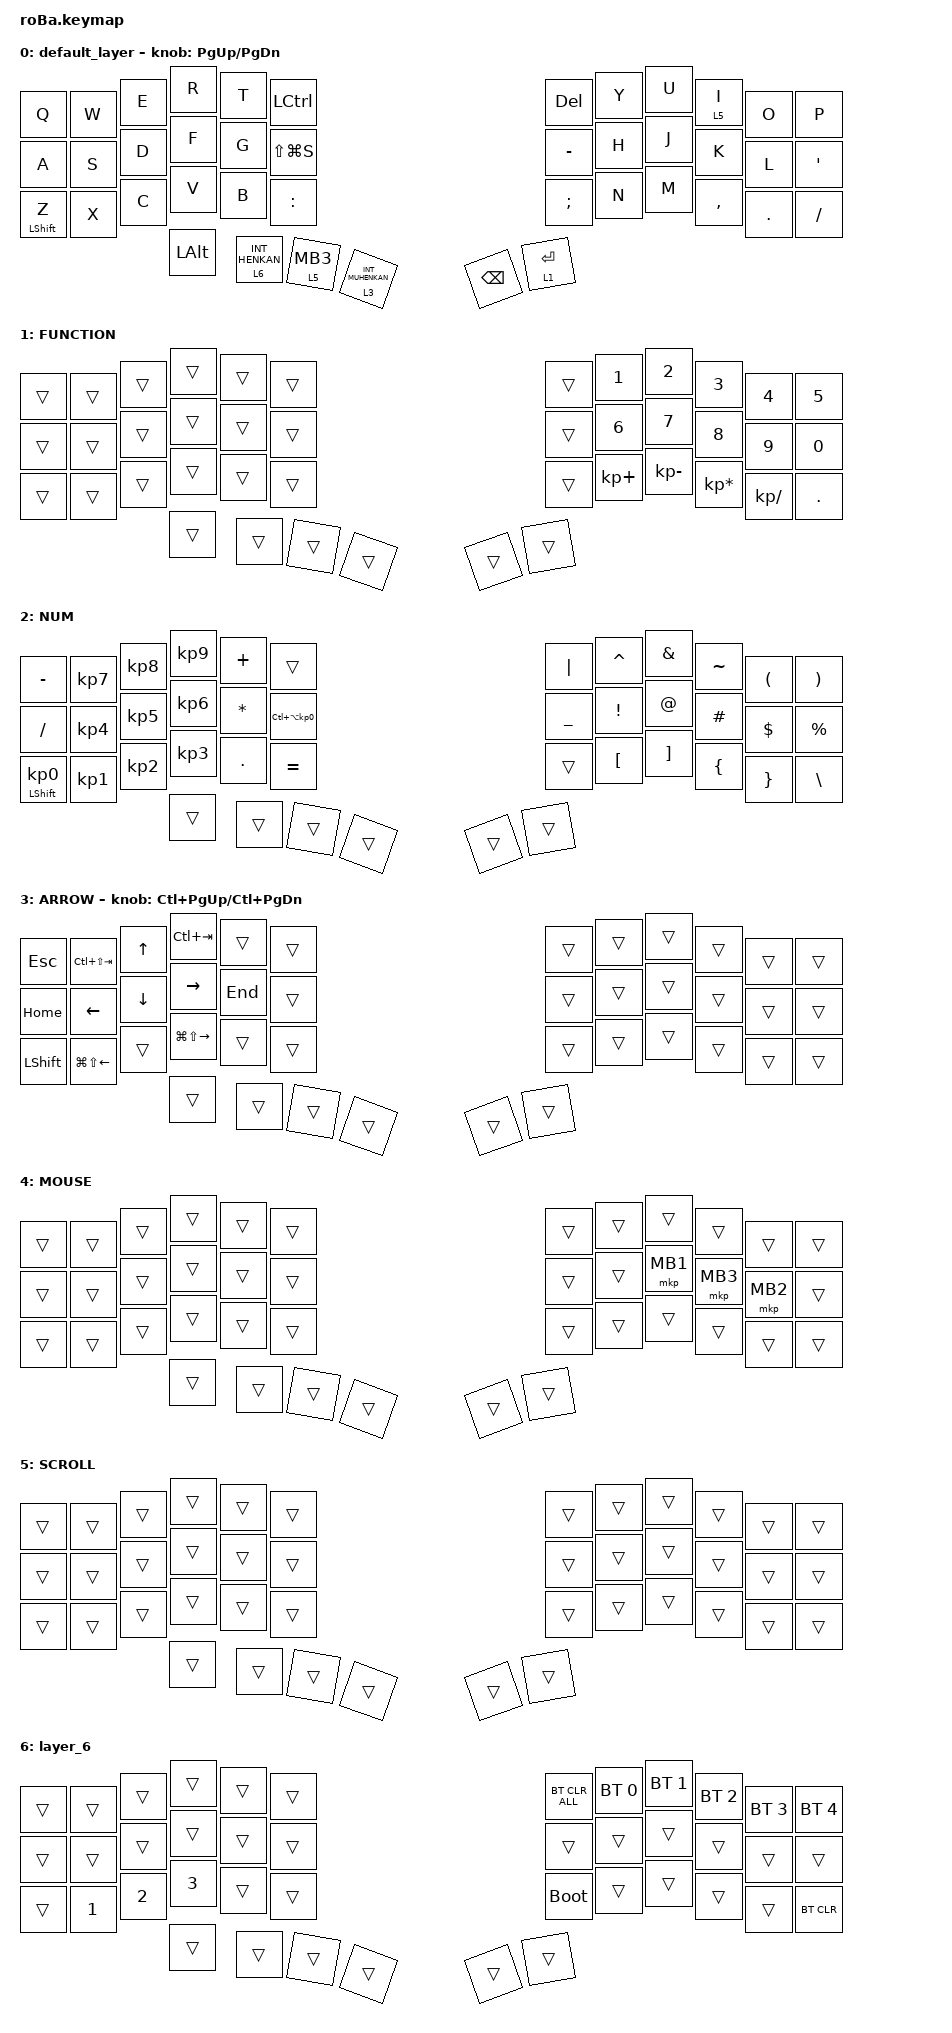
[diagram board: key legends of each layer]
#include <behaviors.dtsi>
#include <dt-bindings/zmk/bt.h>
#include <dt-bindings/zmk/keys.h>
#include <dt-bindings/zmk/pointing.h>

// ---- 日本語配列（JIS）用の読み替え ------------------------------------------
// kot149/zmk-layout-shift で &kp を差し替え、US 配列のつもりで指定したキーを
// JIS 配列の PC 向けのキーに読み替えて送る（Studio で割り当てたキーにも効く）。
#include <layout_shift_kp_override.dtsi>

// Studio に保存済みの割り当ては behavior のデバイス名で &kp を参照している。
// override が付ける label を消し、デバイス名を元の "key_press" のままにする。
&kp {
    /delete-property/ label;
};

// key press 系の実体は 1 つだけにする（ドライバが instance 0 しか作らないため）
/delete-node/ &mtls;
/delete-node/ &kpls;

#define JIS_OPT (LAYOUT_SHIFT_OPTIONAL_CTRL | LAYOUT_SHIFT_OPTIONAL_ALT | LAYOUT_SHIFT_OPTIONAL_GUI)

/ {
    // 同梱の US->JIS マップから GRAVE（JIS の半角/全角）だけ外したもの。
    // 起動時に常に有効化する（src/jis_default_on.c）。切り替えキーは置かない。
    jis_map: jis_map {
        compatible = "zmk,layout-shift-map";
        mappings = <
            EQUAL             UNDERSCORE        JIS_OPT
            CARET             EQUAL             JIS_OPT
            TILDE             PLUS              JIS_OPT
            AT_SIGN           LEFT_BRACKET      JIS_OPT
            LEFT_BRACKET      RIGHT_BRACKET     JIS_OPT
            RIGHT_BRACKET     BACKSLASH         JIS_OPT
            LEFT_BRACE        RIGHT_BRACE       JIS_OPT
            RIGHT_BRACE       PIPE              JIS_OPT
            PLUS              COLON             JIS_OPT
            COLON             SINGLE_QUOTE      JIS_OPT
            ASTERISK          DOUBLE_QUOTES     JIS_OPT
            DOUBLE_QUOTES     AT_SIGN           JIS_OPT
            AMPERSAND         CARET             JIS_OPT
            SINGLE_QUOTE      AMPERSAND         JIS_OPT
            LEFT_PARENTHESIS  ASTERISK          JIS_OPT
            RIGHT_PARENTHESIS LEFT_PARENTHESIS  JIS_OPT
            UNDERSCORE        LS(0x87)          JIS_OPT
            BACKSLASH         0x89              JIS_OPT
            PIPE              LS(0x89)          JIS_OPT
        >;
    };
};
// -----------------------------------------------------------------------------

&mt {
    flavor = "balanced";
    quick-tap-ms = <0>;
};

&trackball {
    automouse-layer = <4>;
    scroll-layers = <5 6>;

    // arrows {
    //     layers = <3>;
    //     bindings =
    //         <&kp RIGHT_ARROW>,
    //         <&kp LEFT_ARROW>,
    //         <&kp UP_ARROW>,
    //         <&kp DOWN_ARROW>;

    //     tick = <10>;
    //     wait-ms = <5>;
    //     tap-ms = <5>;
    // };
};

/ {
    combos {
        compatible = "zmk,combos";

        tab {
            bindings = <&kp TAB>;
            key-positions = <13 14>;
        };

        shift_tab {
            bindings = <&kp LS(TAB)>;
            key-positions = <14 15>;
        };

        muhennkann {
            bindings = <&to_layer_0 INT_MUHENKAN>;
            key-positions = <13 12>;
        };

        double_quotation {
            bindings = <&kp DOUBLE_QUOTES>;
            key-positions = <22 23>;
        };

        eq {
            bindings = <&kp EQUAL>;
            key-positions = <26 27>;
        };
    };

    macros {
        to_layer_0: to_layer_0 {
            compatible = "zmk,behavior-macro-one-param";
            #binding-cells = <1>;
            bindings = <&to 0 &macro_param_1to1 &kp MACRO_PLACEHOLDER>;
            label = "TO_LAYER_0";
        };
    };

    behaviors {
        lt_to_layer_0: lt_to_layer_0 {
            compatible = "zmk,behavior-hold-tap";
            label = "LAYER_TAP_TO_0";
            bindings = <&mo>, <&to_layer_0>;

            #binding-cells = <2>;
            tapping-term-ms = <200>;
        };

        lt_mkp: lt_mkp {
            compatible = "zmk,behavior-hold-tap";
            display-name = "Layer-Tap Mouse";
            bindings = <&mo>, <&mkp>;

            #binding-cells = <2>;
            flavor = "tap-preferred";
            tapping-term-ms = <200>;
        };
    };

    keymap {
        compatible = "zmk,keymap";

        default_layer {
            bindings = <
&kp Q             &kp W  &kp E         &kp R                        &kp T        &kp LCTRL                          &kp DEL        &kp Y        &kp U  &lt 5 I    &kp O    &kp P
&kp A             &kp S  &kp D         &kp F                        &kp G        &kp LS(LG(S))                      &kp MINUS      &kp H        &kp J  &kp K      &kp L    &kp SQT
&mt LEFT_SHIFT Z  &kp X  &kp C         &kp V                        &kp B        &kp COLON                          &kp SEMICOLON  &kp N        &kp M  &kp COMMA  &kp DOT  &kp SLASH
                         &kp LEFT_ALT  &lt_to_layer_0 6 INT_HENKAN  &lt_mkp 5 MB3  &lt_to_layer_0 3 INT_MUHENKAN      &kp BACKSPACE  &lt 1 ENTER
            >;

            sensor-bindings = <&inc_dec_kp PG_UP PAGE_DOWN>;
        };

        FUNCTION {
            bindings = <
&trans  &trans  &trans  &trans  &trans  &trans      &trans  &kp N1       &kp N2        &kp N3           &kp N4         &kp N5
&trans  &trans  &trans  &trans  &trans  &trans      &trans  &kp N6       &kp N7        &kp N8           &kp N9         &kp N0
&trans  &trans  &trans  &trans  &trans  &trans      &trans  &kp KP_PLUS  &kp KP_MINUS  &kp KP_MULTIPLY  &kp KP_DIVIDE  &kp DOT
                &trans  &trans  &trans  &trans      &trans   &trans
            >;
        };

        NUM {
            bindings = <
&kp MINUS                   &kp KP_NUMBER_7  &kp KP_NUMBER_8  &kp KP_NUMBER_9  &kp PLUS      &trans                       &kp PIPE        &kp CARET         &kp AMPERSAND      &kp TILDE       &kp LEFT_PARENTHESIS  &kp RIGHT_PARENTHESIS
&kp SLASH                   &kp KP_NUMBER_4  &kp KP_NUMBER_5  &kp KP_NUMBER_6  &kp ASTERISK  &kp LC(LA(KP_NUMBER_0))      &kp UNDERSCORE  &kp EXCLAMATION   &kp AT_SIGN        &kp HASH        &kp DOLLAR            &kp PERCENT
&mt LEFT_SHIFT KP_NUMBER_0  &kp KP_NUMBER_1  &kp KP_NUMBER_2  &kp KP_NUMBER_3  &kp PERIOD    &kp EQUAL                    &trans          &kp LEFT_BRACKET  &kp RIGHT_BRACKET  &kp LEFT_BRACE  &kp RIGHT_BRACE       &kp BACKSLASH
                                             &trans           &trans           &trans        &trans                       &trans          &trans
            >;
        };

        ARROW {
            bindings = <
&kp ESCAPE      &kp LC(LS(TAB))         &kp UP_ARROW    &kp LC(TAB)              &trans   &trans      &trans  &trans  &trans  &trans  &trans  &trans
&kp HOME        &kp LEFT_ARROW          &kp DOWN_ARROW  &kp RIGHT_ARROW          &kp END  &trans      &trans  &trans  &trans  &trans  &trans  &trans
&kp LEFT_SHIFT  &kp LG(LS(LEFT_ARROW))  &trans          &kp LG(LS(RIGHT_ARROW))  &trans   &trans      &trans  &trans  &trans  &trans  &trans  &trans
                                        &trans          &trans                   &trans   &trans      &trans  &trans
            >;

            sensor-bindings = <&inc_dec_kp LC(PAGE_UP) LC(PAGE_DOWN)>;
        };

        MOUSE {
            bindings = <
&trans  &trans  &trans  &trans  &trans  &trans      &trans  &trans  &trans    &trans    &trans    &trans
&trans  &trans  &trans  &trans  &trans  &trans      &trans  &trans  &mkp MB1  &mkp MB3  &mkp MB2  &trans
&trans  &trans  &trans  &trans  &trans  &trans      &trans  &trans  &trans    &trans    &trans    &trans
                &trans  &trans  &trans  &trans      &trans  &trans
            >;
        };

        SCROLL {
            bindings = <
&trans  &trans  &trans  &trans  &trans  &trans      &trans  &trans  &trans  &trans  &trans  &trans
&trans  &trans  &trans  &trans  &trans  &trans      &trans  &trans  &trans  &trans  &trans  &trans
&trans  &trans  &trans  &trans  &trans  &trans      &trans  &trans  &trans  &trans  &trans  &trans
                &trans  &trans  &trans  &trans      &trans  &trans
            >;
        };

        layer_6 {
            bindings = <
&trans  &trans        &trans        &trans        &trans  &trans      &bt BT_CLR_ALL  &bt BT_SEL 0  &bt BT_SEL 1  &bt BT_SEL 2  &bt BT_SEL 3  &bt BT_SEL 4
&trans  &trans        &trans        &trans        &trans  &trans      &trans          &trans        &trans        &trans        &trans        &trans
&trans  &kp NUMBER_1  &kp NUMBER_2  &kp NUMBER_3  &trans  &trans      &bootloader     &trans        &trans        &trans        &trans        &bt BT_CLR
                      &trans        &trans        &trans  &trans      &trans          &trans
            >;
        };
    };
};
